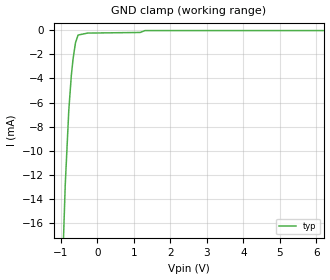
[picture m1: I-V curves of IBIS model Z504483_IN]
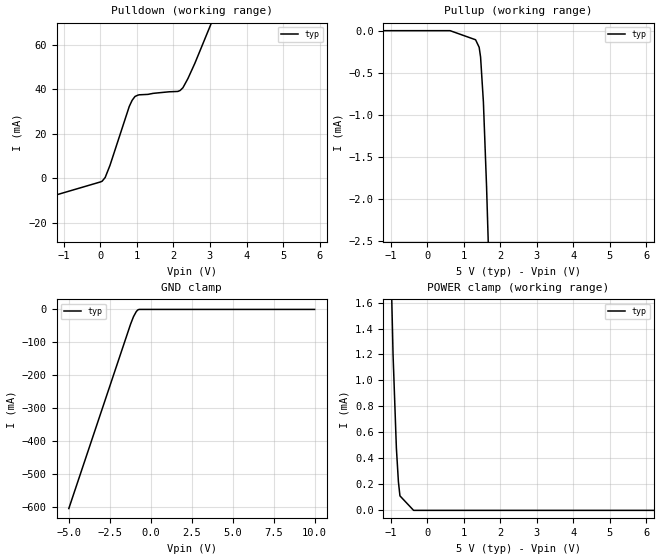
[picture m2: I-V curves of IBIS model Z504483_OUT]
| YOU ARE ONLY AUTHORIZED TO USE THIS SOFTWARE
| ACCORDING TO LICENSOR'S LICENSE RESTRICTIONS.
[IBIS Ver] 3.1
[File Name] sn54ls93j.ibs
[File Rev] 2.0
[Source] Measured and created by ICX Technology
[Date] Friday 7/14/00 9:08:15 AM
[Copyright]
| (C) COPYRIGHT 1993-2000
| MENTOR GRAPHICS CORPORATION
| ICX STANDARD LIBRARY, ICX PROJECT MODELING,
| ICX CUSTOM MODELING, ICX VENDOR MODEL
| ALL RIGHTS RESERVED.
| THE FOLLOWING ARE TRADEMARKS OR SERVICE MARKS OF
| MENTOR GRAPHICS CORPORATION:ICX (R), ICX STANDARD
| LIBRARY(R), ICX PROJECT MODELING(R), ICX CUSTOM
| MODELING(R), qualityIBIS(TM), MODELVIEWER(TM),
| AND MODELEDITOR(TM)
| ALL COPIES OF SOFTWARE, INCLUDING BUT NOT LIMITED TO
| ANY MODIFICATIONS, ENHANCEMENTS OR DERIVATIVE WORKS,
| MUST CONTAIN ALL MENTOR GRAPHICS CORPORATION'S
| NOTICES AND LEGENDS, INCLUDING THOSE EMBEDDED IN
| SOFTWARE AND THOSE AFFIXED TO SOFTWARE MEDIUM
| AND CONTAINER, AS RECEIVED FROM MENTOR GRAPHICS
| CORPORATION.
|  ZAP Model Builder 2.7
[Component] SN54LS93J
[Manufacturer] OnSemiconductor
[Package]
| variable   typ   min   max
R_pkg  .21ohms NA NA
L_pkg  4.543nH NA NA
C_pkg  1.8pF NA NA
[Pin] signal_name  model_name  R_pin  L_pin C_pin
1 _CLKB Z504483_IN .22 6.757n 2.434p
2 R0_1 Z504483_IN .212 4.757n 1.941p
3 R0_2 Z504483_IN .204 3.257n 1.448p
4 NC NC .196 2.257n .955p
5 VCC POWER .204 3.257n 1.448p
6 NC NC .212 4.757n 1.941p
7 NC NC .22 6.757n 2.434p
8 QC Z504483_OUT .22 6.757n 2.434p
9 QB Z504483_OUT .212 4.757n 1.941p
10 GND GND .204 3.257n 1.448p
11 QD Z504483_OUT .196 2.257n .955p
12 QA Z504483_OUT .204 3.257n 1.448p
13 NC NC .212 4.757n 1.941p
14 _CLKA Z504483_IN .22 6.757n 2.434p
| Models and submodels in the file (2): Z504483_IN (Input), Z504483_OUT (Output)
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| (C) COPYRIGHT 1993-2000
| MENTOR GRAPHICS CORPORATION
| ICX STANDARD LIBRARY, ICX PROJECT MODELING,
| ICX CUSTOM MODELING, ICX VENDOR MODEL
| ALL RIGHTS RESERVED.
| THE FOLLOWING ARE TRADEMARKS OR SERVICE MARKS OF
| MENTOR GRAPHICS CORPORATION:ICX (R), ICX STANDARD
| LIBRARY(R), ICX PROJECT MODELING(R), ICX CUSTOM
| MODELING(R), qualityIBIS(TM), MODELVIEWER(TM),
| AND MODELEDITOR(TM)
| ALL COPIES OF SOFTWARE, INCLUDING BUT NOT LIMITED TO
| ANY MODIFICATIONS, ENHANCEMENTS OR DERIVATIVE WORKS,
| MUST CONTAIN ALL MENTOR GRAPHICS CORPORATION'S
| NOTICES AND LEGENDS, INCLUDING THOSE EMBEDDED IN
| SOFTWARE AND THOSE AFFIXED TO SOFTWARE MEDIUM
| AND CONTAINER, AS RECEIVED FROM MENTOR GRAPHICS
| CORPORATION.
| Model Application Version 1.89 2/18/99.
[Model] Z504483_IN
Model_type Input
Vinl = 800.0mV
Vinh = 2.000V
C_comp 4.000pF NA NA
| variable typ   min   max
[Voltage Range] 5.000V NA NA
[GND Clamp Reference] 0.000V NA NA
[POWER Clamp Reference] 5.000V NA NA
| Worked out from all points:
|   GND clamp passes 1 mA (typ) near -0.60 V on its own axis
[GND Clamp]
-5V       -396.3mA   NA         NA
-878.6mV  -12.81mA   NA         NA
-781.2mV  -6.615mA   NA         NA
-712.5mV  -3.751mA   NA         NA
-663.3mV  -2.336mA   NA         NA
-598.5mV  -1.022mA   NA         NA
-527.3mV  -381.5uA   NA         NA
-263.7mV  -218.2uA   NA         NA
1.172V    -167.4uA   NA         NA
1.304V    -10.66uA   NA         NA
10V       -10.66uA   NA         NA
[POWER Clamp]
-5V       0A         NA         NA
10V       0A         NA         NA
| (C) COPYRIGHT 1993-2000
| MENTOR GRAPHICS CORPORATION
| ICX STANDARD LIBRARY, ICX PROJECT MODELING,
| ICX CUSTOM MODELING, ICX VENDOR MODEL
| ALL RIGHTS RESERVED.
| THE FOLLOWING ARE TRADEMARKS OR SERVICE MARKS OF
| MENTOR GRAPHICS CORPORATION:ICX (R), ICX STANDARD
| LIBRARY(R), ICX PROJECT MODELING(R), ICX CUSTOM
| MODELING(R), qualityIBIS(TM), MODELVIEWER(TM),
| AND MODELEDITOR(TM)
| ALL COPIES OF SOFTWARE, INCLUDING BUT NOT LIMITED TO
| ANY MODIFICATIONS, ENHANCEMENTS OR DERIVATIVE WORKS,
| MUST CONTAIN ALL MENTOR GRAPHICS CORPORATION'S
| NOTICES AND LEGENDS, INCLUDING THOSE EMBEDDED IN
| SOFTWARE AND THOSE AFFIXED TO SOFTWARE MEDIUM
| AND CONTAINER, AS RECEIVED FROM MENTOR GRAPHICS
| CORPORATION.
| Model Application Version 1.89 2/18/99.
[Model] Z504483_OUT
Model_type Output
Vref=5.000V
Rref=2.000kohms
Cref=15.00pF
Vmeas=1.300V
C_comp 8.000pF NA NA
| variable typ   min   max
[Voltage Range] 5.000V NA NA
[POWER Clamp Reference] 5.000V NA NA
[Pullup Reference] 5.000V NA NA
[Pulldown Reference] 0.000V NA NA
[GND Clamp Reference] 0.000V NA NA
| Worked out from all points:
|   slope of the pulldown table from 0 to 0.75 V, typ, clamps not added: 23.6 ohm
|   slope of the pullup table from 0 to 0.75 V, typ, clamps not added: 38.6 kohm
|   GND clamp passes 1 mA (typ) near -0.76 V on its own axis
|   POWER clamp passes 1 mA (typ) near -0.91 V on its own axis
[GND Clamp]
-5V       -605.5mA   NA         NA
-1.228V   -44.45mA   NA         NA
-1.055V   -22.31mA   NA         NA
-891.2mV  -7.334mA   NA         NA
-800.6mV  -1.867mA   NA         NA
-711.6mV  0A         NA         NA
10V       0A         NA         NA
[Pulldown]
-5V       -25.6mA    NA         NA
48.83mV   -1.202mA   NA         NA
131.8mV   456.4uA    NA         NA
263.2mV   5.892mA    NA         NA
791.1mV   32.31mA    NA         NA
868.6mV   35.02mA    NA         NA
947.6mV   36.77mA    NA         NA
2.183V    39.45mA    NA         NA
2.26V     40.7mA     NA         NA
2.396V    44.78mA    NA         NA
2.588V    51.7mA     NA         NA
10V       347.7mA    NA         NA
[Pullup]
-5V       8.559uA    NA         NA
625mV     8.559uA    NA         NA
1.323V    -99.83uA   NA         NA
1.421V    -189.5uA   NA         NA
1.46V     -306.1uA   NA         NA
1.537V    -839.9uA   NA         NA
1.624V    -1.852mA   NA         NA
10V       -122.3mA   NA         NA
[POWER Clamp]
-5V       50.2mA     NA         NA
-936mV    1.201mA    NA         NA
-845mV    480.7uA    NA         NA
-789mV    219.2uA    NA         NA
-747mV    111.6uA    NA         NA
-373.5mV  0A         NA         NA
10V       0A         NA         NA
[Ramp]
| variable typ min max
dV/dt_r 1.787/9.993n NA NA
dV/dt_f 1.787/1.664n NA NA
R_load = 500.0Ohms
